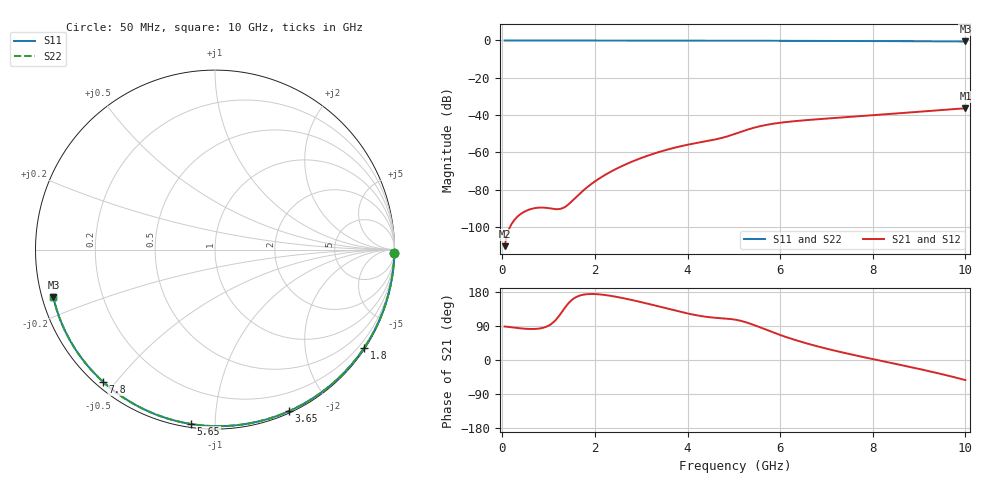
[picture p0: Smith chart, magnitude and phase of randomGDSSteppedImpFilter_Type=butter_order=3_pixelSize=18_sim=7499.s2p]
! freq	dB(S11)	phase(S11)	dB(S12)	phase(S12)
!  dB(S21)	phase(S21)	dB(S22)	phase(S22)
!S-par simulation data
#  GHz  S  DB  R 50
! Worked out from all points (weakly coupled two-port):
!   200 points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, 50 MHz to 10 GHz, reference 50 ohm
!   highest |S21| = -36.35 dB at 10 GHz (marker M1); lowest = -110.2 dB at 50 MHz (marker M2)
!   lowest |S11| = -0.5 dB at 10 GHz (marker M3), VSWR 31.86, Z = 1.6 - j7.24 ohm
!   |S11| at or under -10 dB: nowhere
!   |S22| runs from -0.5 to 0.0 dB; largest |S21 - S12| = 0
!   S11 on the Smith chart (normalised r, x): 50 MHz: open; 1.8 GHz: 0.03, -3.35; 3.65 GHz: 0.02, -1.55; 5.65 GHz: 0.02, -0.87; 7.8 GHz: 0.02, -0.46; 10 GHz: 0.03, -0.14
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0.05  -0.00 -0.9  -110.20 88.4  -110.20 88.4  -0.00 -0.9
0.45  -0.01 -8.4  -92.09 82.9  -92.09 82.9  -0.01 -8.4
0.9  -0.02 -16.8  -89.55 85.6  -89.55 85.6  -0.02 -16.8
1.75  -0.04 -32.3  -80.35 172.3  -80.35 172.3  -0.04 -32.4
1.8  -0.04 -33.2  -79.29 173.3  -79.29 173.3  -0.04 -33.3
2.1  -0.05 -38.6  -73.85 173.2  -73.85 173.2  -0.05 -38.7
2.3  -0.05 -42.2  -70.88 170.1  -70.88 170.1  -0.05 -42.2
2.5  -0.06 -45.7  -68.28 165.9  -68.28 165.9  -0.06 -45.8
2.95  -0.07 -53.6  -63.44 154.1  -63.44 154.1  -0.07 -53.6
3.4  -0.08 -61.3  -59.64 140.7  -59.64 140.7  -0.08 -61.3
3.65  -0.09 -65.5  -57.89 133.1  -57.89 133.1  -0.09 -65.6
4  -0.10 -71.4  -55.87 122.9  -55.87 122.9  -0.10 -71.4
4.65  -0.12 -82.0  -52.75 110.9  -52.75 110.9  -0.12 -82.0
5.05  -0.14 -88.4  -49.83 106.0  -49.83 106.0  -0.14 -88.4
5.4  -0.15 -93.9  -46.98 93.9  -46.98 93.9  -0.16 -93.9
5.65  -0.17 -97.8  -45.48 82.2  -45.48 82.2  -0.17 -97.8
6.05  -0.19 -103.9  -43.92 63.9  -43.92 63.9  -0.19 -104.0
6.7  -0.23 -113.8  -42.41 39.5  -42.41 39.5  -0.23 -113.8
7.8  -0.31 -130.2  -40.43 7.6  -40.43 7.6  -0.31 -130.3
8.35  -0.36 -138.4  -39.42 -6.6  -39.42 -6.6  -0.36 -138.5
9.2  -0.44 -151.2  -37.77 -29.1  -37.77 -29.1  -0.44 -151.3
10  -0.55 -163.5  -36.35 -53.0  -36.35 -53.0  -0.55 -163.6
